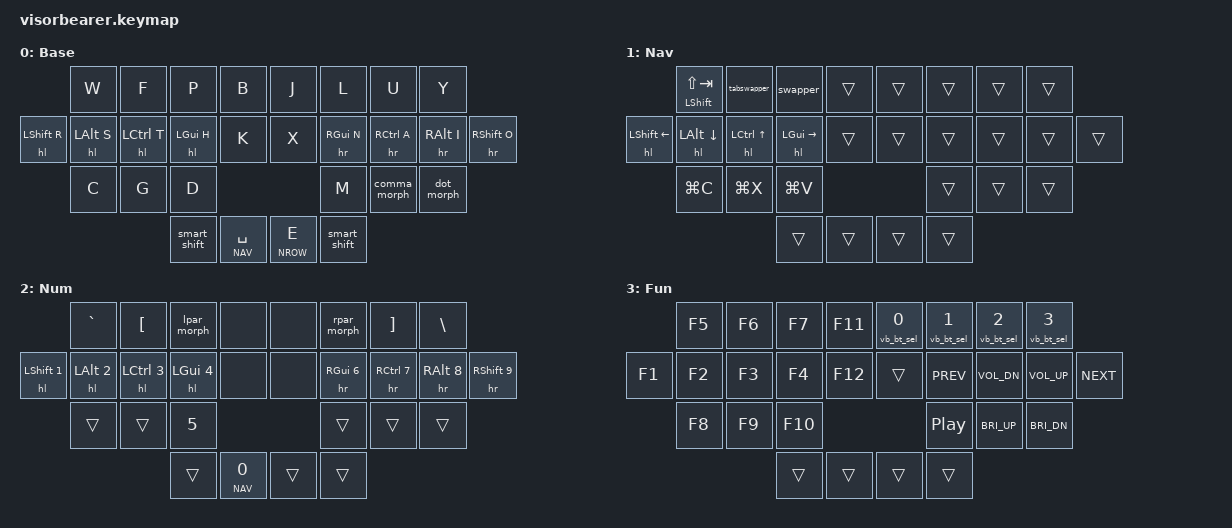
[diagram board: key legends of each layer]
#include <behaviors.dtsi>
#include <dt-bindings/zmk/keys.h>
#include <dt-bindings/zmk/bt.h>
#include <dt-bindings/zmk/outputs.h>
#include <behaviors/visorbearer_led.dtsi>

#include "zmk-helpers/helper.h"
#include "visorbearer.h"



/* ------------ Key shorthands -------------*/

// Apply matrix transform for physical layout
ZMK_APPLY_MATRIX_TRANSFORM(visorbearer_13332_transform)

// Define shorthands for QoL & readability
#define APT   0
#define NAV   1
#define NROW  2
#define FN    3

#define XXX &none
#define ___ &trans

#define KEYS_L LT0 LT1 LT2 LT3 LM0 LM1 LM2 LM3 LM4 LB1 LB2 LB3  // left-hand keys
#define KEYS_R RT0 RT1 RT2 RT3 RM0 RM1 RM2 RM3 RM4 RB1 RB2 RB3  // right-hand keys
#define THUMBS LH0 LH1 RH0 RH1                                  // thumb keys



/* ------------ Global defaults ------------*/

#define QUICK_TAP_MS 220

&sk {
  release-after-ms = <900>;
  quick-release;
};

&sl { // Allow sticky mods to chord across sticky layers.
  ignore-modifiers;
};

&lt {
  flavor = "balanced";
  tapping-term-ms = <260>;
  quick-tap-ms = <QUICK_TAP_MS>;
};



/* ------------ Keymap helpers -------------*/

// Alt+Tab swapper, requires tri-state module.
ZMK_TRI_STATE(swapper, bindings = <&kt LGUI>, <&kp TAB>, <&kt LGUI>;
              ignored-key-positions = <LT3 LM1 LM2 LM3 LM4>;)

ZMK_TRI_STATE(tabswapper, bindings = <&kt LCTL>, <&kp TAB>, <&kt LCTL>;
              ignored-key-positions = <LT3 LM1 LM2 LM3 LM4>;)

// Define mod-morph with a *single* mod trigger for less repetition.
#define SIMPLE_MORPH(NAME, MOD, BINDING1, BINDING2)                            \
  ZMK_MOD_MORPH(NAME, mods = <(MOD_L##MOD | MOD_R##MOD)>;                      \
                bindings = <BINDING1>, <BINDING2>;)


#define MAKE_HRM(NAME, HOLD, TAP, TRIGGER_POS)                                 \
  ZMK_HOLD_TAP(NAME, bindings = <HOLD>, <TAP>; flavor = "balanced";            \
               tapping-term-ms = <280>; quick-tap-ms = <QUICK_TAP_MS>;         \
               require-prior-idle-ms = <150>; hold-trigger-on-release;         \
               hold-trigger-key-positions = <TRIGGER_POS>;)

MAKE_HRM(hl, &kp, &kp, KEYS_R THUMBS) // Left-hand HRMs.
MAKE_HRM(hr, &kp, &kp, KEYS_L THUMBS) // Right-hand HRMs.

// Hack: Make HRM combos tap-only (cf, ZMK issue #544).
#define ZMK_COMBO_8(NAME, TAP, POS, LAYERS, COMBO_MS, IDLE_MS, HOLD, SIDE)     \
  MAKE_HRM(hm_combo_##NAME, &kp, TAP, SIDE THUMBS)                             \
  ZMK_COMBO_6(NAME, &hm_combo_##NAME HOLD 0, POS, LAYERS, COMBO_MS, IDLE_MS)



/* ------------ Combos ---------------------*/

#include "combos.dtsi" // Combos must be sourced after HRM workaround.



/* ------------ Custom behaviors -----------*/

// Tap: comma | Shift + tap: semicolon
SIMPLE_MORPH(comma_morph, SFT, &kp COMMA, &kp SEMICOLON)
// Tap: period | Shift + tap: colon
SIMPLE_MORPH(dot_morph, SFT, &kp DOT, &kp COLON)

// Tap: parentheses | Shift + tap: angle bracket
SIMPLE_MORPH(lpar_morph, SFT, &kp LPAR, &kp LT)
SIMPLE_MORPH(rpar_morph, SFT, &kp RPAR, &kp GT)

// Tap: backspace | Shift + tap: delete
SIMPLE_MORPH(bksp_del, SFT, &kp BACKSPACE, &kp DELETE)

SIMPLE_MORPH(smart_shift, SFT, &sk LSHIFT, &caps_word)

ZMK_MACRO(qu,
  bindings = <&kp Q &kp U>;
)



/* ------------ Keymap ---------------------*/

ZMK_CONDITIONAL_LAYER(fn, NROW NAV, FN)

ZMK_LAYER(Base,
//                ╭─────────────┬─────────────┬─────────────┬─────────────╮   ╭─────────────┬─────────────┬─────────────┬─────────────╮
                    &kp W         &kp F         &kp P         &kp B             &kp J         &kp L         &kp U         &kp Y
//  ╭─────────────┼─────────────┼─────────────┼─────────────┼─────────────┤   ├─────────────┼─────────────┼─────────────┼─────────────┼─────────────╮
      &hl LSHIFT R         &hl LALT S    &hl LCTL T    &hl LGUI H   &kp K              &kp X         &hr RGUI N    &hr RCTL A    &hr RALT I    &hr RSHIFT O
//  ╰─────────────┼─────────────┼─────────────┼─────────────┼─────────────╯   ╰─────────────┼─────────────┼─────────────┼─────────────┼─────────────╯
                    &kp C         &kp G         &kp D                                         &kp M         &comma_morph  &dot_morph
//                ╰─────────────┼─────────────┼─────────────┼─────────────╮   ╭─────────────┼─────────────┼─────────────┼─────────────╯
                                              &smart_shift    &lt NAV SPACE     &lt NROW E    &smart_shift
//                                            ╰─────────────┴─────────────╯   ╰─────────────┴─────────────╯
)

ZMK_LAYER(Nav,
//                ╭─────────────┬─────────────┬─────────────┬─────────────╮   ╭─────────────┬─────────────┬─────────────┬─────────────╮
              &mt LSHIFT LS(TAB)  &tabswapper   &swapper      ___               ___           ___           ___           ___
//  ╭─────────────┼─────────────┼─────────────┼─────────────┼─────────────┤   ├─────────────┼─────────────┼─────────────┼─────────────┼─────────────╮
      &hl LSHIFT LEFT      &hl LALT DOWN &hl LCTL UP   &hl LGUI RIGHT ___              ___           ___           ___           ___           ___
//  ╰─────────────┼─────────────┼─────────────┼─────────────┼─────────────╯   ╰─────────────┼─────────────┼─────────────┼─────────────┼─────────────╯
                    &kp LG(C)     &kp LG(X)     &kp LG(V)                                    ___           ___           ___
//                ╰─────────────┼─────────────┼─────────────┼─────────────╮   ╭─────────────┼─────────────┼─────────────┼─────────────╯
                                                ___           ___               ___           ___
//                                            ╰─────────────┴─────────────╯   ╰─────────────┴─────────────╯
)

ZMK_LAYER(Num,
//                ╭─────────────┬─────────────┬─────────────┬─────────────╮   ╭─────────────┬─────────────┬─────────────┬─────────────╮
                    &kp GRAVE     &kp LBKT      &lpar_morph   XXX               XXX           &rpar_morph   &kp RBKT      &kp BSLH
//  ╭─────────────┼─────────────┼─────────────┼─────────────┼─────────────┤   ├─────────────┼─────────────┼─────────────┼─────────────┼─────────────╮
      &hl LSHIFT N1 &hl LALT N2   &hl LCTRL N3  &hl LGUI N4   XXX               XXX           &hr RGUI N6  &hr RCTRL N7  &hr RALT N8    &hr RSHIFT N9
//  ╰─────────────┼─────────────┼─────────────┼─────────────┼─────────────╯   ╰─────────────┼─────────────┼─────────────┼─────────────┼─────────────╯
                    ___           ___           &kp N5                                        ___           ___           ___
//                ╰─────────────┼─────────────┼─────────────┼─────────────╮   ╭─────────────┼─────────────┼─────────────┼─────────────╯
                                                ___           &lt NAV N0        ___           ___
//                                            ╰─────────────┴─────────────╯   ╰─────────────┴─────────────╯
)

ZMK_LAYER(Fun,
//                ╭─────────────┬─────────────┬─────────────┬─────────────╮   ╭─────────────┬─────────────┬─────────────┬─────────────╮
                    &kp F5        &kp F6        &kp F7        &kp F11           &vb_bt_sel 0  &vb_bt_sel 1  &vb_bt_sel 2  &vb_bt_sel 3
//  ╭─────────────┼─────────────┼─────────────┼─────────────┼─────────────┤   ├─────────────┼─────────────┼─────────────┼─────────────┼─────────────╮
      &kp F1        &kp F2        &kp F3        &kp F4        &kp F12           ___           &kp C_PREV    &kp C_VOL_DN  &kp C_VOL_UP  &kp C_NEXT
//  ╰─────────────┼─────────────┼─────────────┼─────────────┼─────────────╯   ╰─────────────┼─────────────┼─────────────┼─────────────┼─────────────╯
                    &kp F8        &kp F9        &kp F10                                       &kp C_PP      &kp C_BRI_UP  &kp C_BRI_DN
//                ╰─────────────┼─────────────┼─────────────┼─────────────╮   ╭─────────────┼─────────────┼─────────────┼─────────────╯
                                                ___           ___               ___           ___
//                                            ╰─────────────┴─────────────╯   ╰─────────────┴─────────────╯
)
